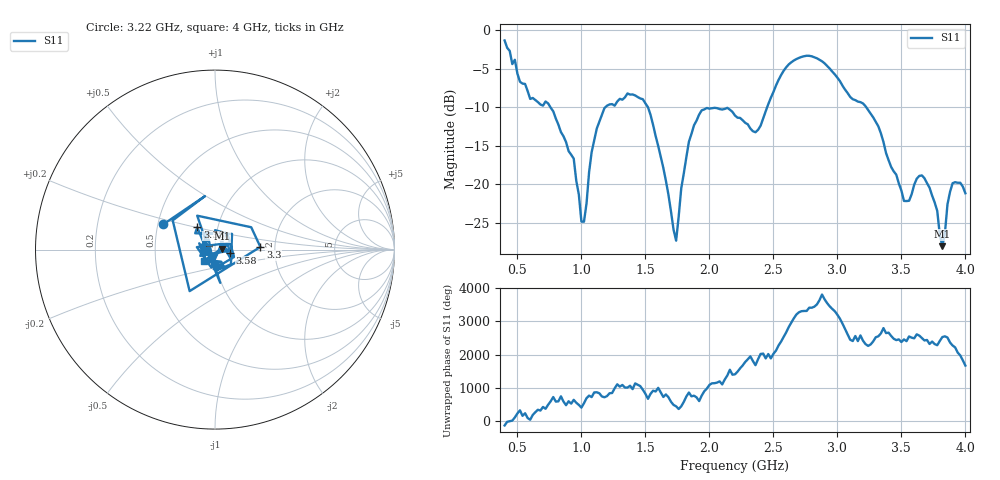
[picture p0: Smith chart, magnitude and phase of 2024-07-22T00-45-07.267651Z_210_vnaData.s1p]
!Created with skrf (http://scikit-rf.org).
# Hz S RI R 50.0
!freq ReS11 ImS11
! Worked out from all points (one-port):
!   181 points, 400 MHz to 4 GHz, reference 50 ohm
!   lowest |S11| = -28.1 dB at 3.82 GHz (marker M1), VSWR 1.08, Z = 54.1 + j0.621 ohm
!   |S11| at or under -10 dB: 757.5 MHz to 1.188 GHz (430.5 MHz wide, 44.3 % of centre); 1.52 GHz to 2.452 GHz (931.8 MHz wide, 46.9 % of centre); 3.225 GHz to end of sweep
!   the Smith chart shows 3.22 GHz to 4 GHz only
!   S11 on the Smith chart (normalised r, x): 3.22 GHz: 0.53, +0.17; 3.3 GHz: 1.68, +0.05; 3.38 GHz: 0.80, +0.20; 3.58 GHz: 1.18, -0.04; 4 GHz: 0.88, -0.11
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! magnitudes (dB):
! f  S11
! 400 MHz  -1.3
! 600 MHz  -8.9
! 860 MHz  -13.8
! 940 MHz  -16.7
! 1 GHz  -24.9
! 1.02 GHz  -24.9
! 1.12 GHz  -12.8
! 1.3 GHz  -8.9
! 1.52 GHz  -10.0
! 1.74 GHz  -27.4
! 1.76 GHz  -24.2
! 1.84 GHz  -14.5
! 1.92 GHz  -11.0
! 2.2 GHz  -11.1
! 2.36 GHz  -13.3
! 2.66 GHz  -3.9
! 2.88 GHz  -4.0
! 3.1 GHz  -8.7
! 3.22 GHz  -9.9
! 3.3 GHz  -11.9
! 3.38 GHz  -16.0
! 3.56 GHz  -22.2
! 3.58 GHz  -21.3
! 3.68 GHz  -19.2
! 3.78 GHz  -23.5
! 3.82 GHz  -28.1
! 3.9 GHz  -19.9
! 4 GHz  -21.2
